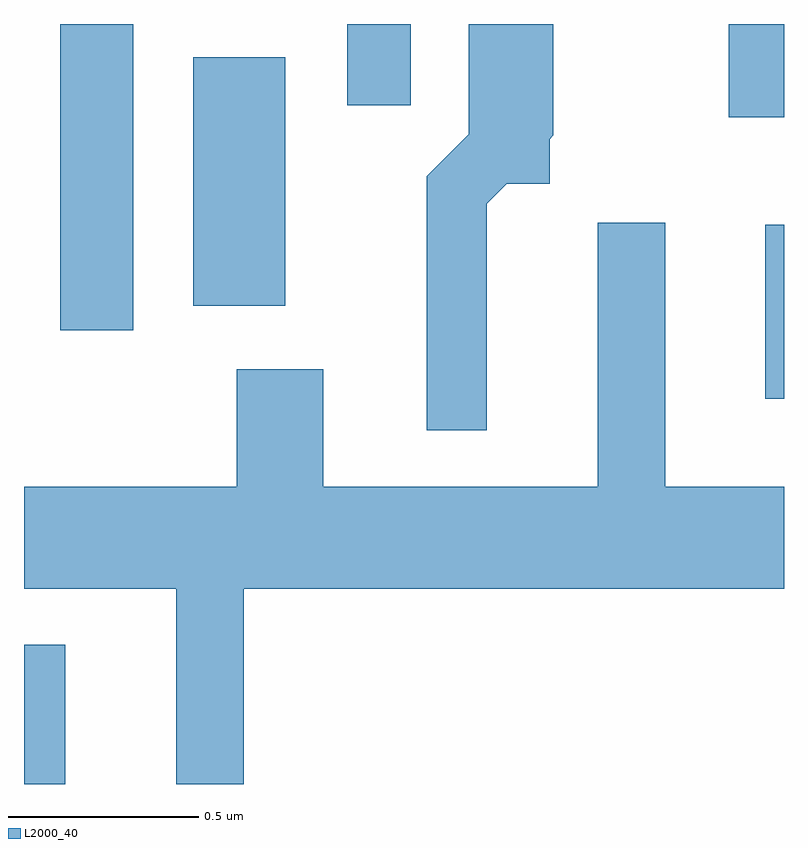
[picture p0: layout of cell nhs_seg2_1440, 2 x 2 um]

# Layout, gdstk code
import gdstk
lib = gdstk.Library(unit=1e-6, precision=1e-09)
def R(c, l, rs):  # rectangles x0, y0, x1, y1
    for r in rs: c.add(gdstk.rectangle(r[:2], r[2:], *l))
def P(c, l, *ps):  # polygons
    for p in ps: c.add(gdstk.Polygon(p, *l))
L2000_40 = (2000, 40)

nhs_seg2_1440 = lib.new_cell('nhs_seg2_1440')
R(nhs_seg2_1440, L2000_40, [(195.611,1047.802,195.719,1048.168), (197.561,1048.816,197.611,1049.274), (195.706,1048.996,195.899,1049.802), (196.056,1049.061,196.299,1049.714), (197.466,1049.556,197.611,1049.802), (196.461,1049.588,196.629,1049.802)])
P(nhs_seg2_1440, L2000_40, [(196.829,1049.329),(196.882,1049.381),(196.994,1049.381),(196.994,1049.499),(197.004,1049.509),(197.004,1049.802),(196.781,1049.802),(196.781,1049.512),(196.671,1049.402),(196.671,1048.733),(196.829,1048.733)],
  [(196.189,1048.316),(197.611,1048.316),(197.611,1048.584),(197.299,1048.584),(197.299,1049.279),(197.121,1049.279),(197.121,1048.584),(196.399,1048.584),(196.399,1048.894),(196.171,1048.894),(196.171,1048.584),(195.611,1048.584),(195.611,1048.316),(196.011,1048.316),(196.011,1047.802),(196.189,1047.802)])

lib.write_gds('nhs_seg2_1440.gds')
